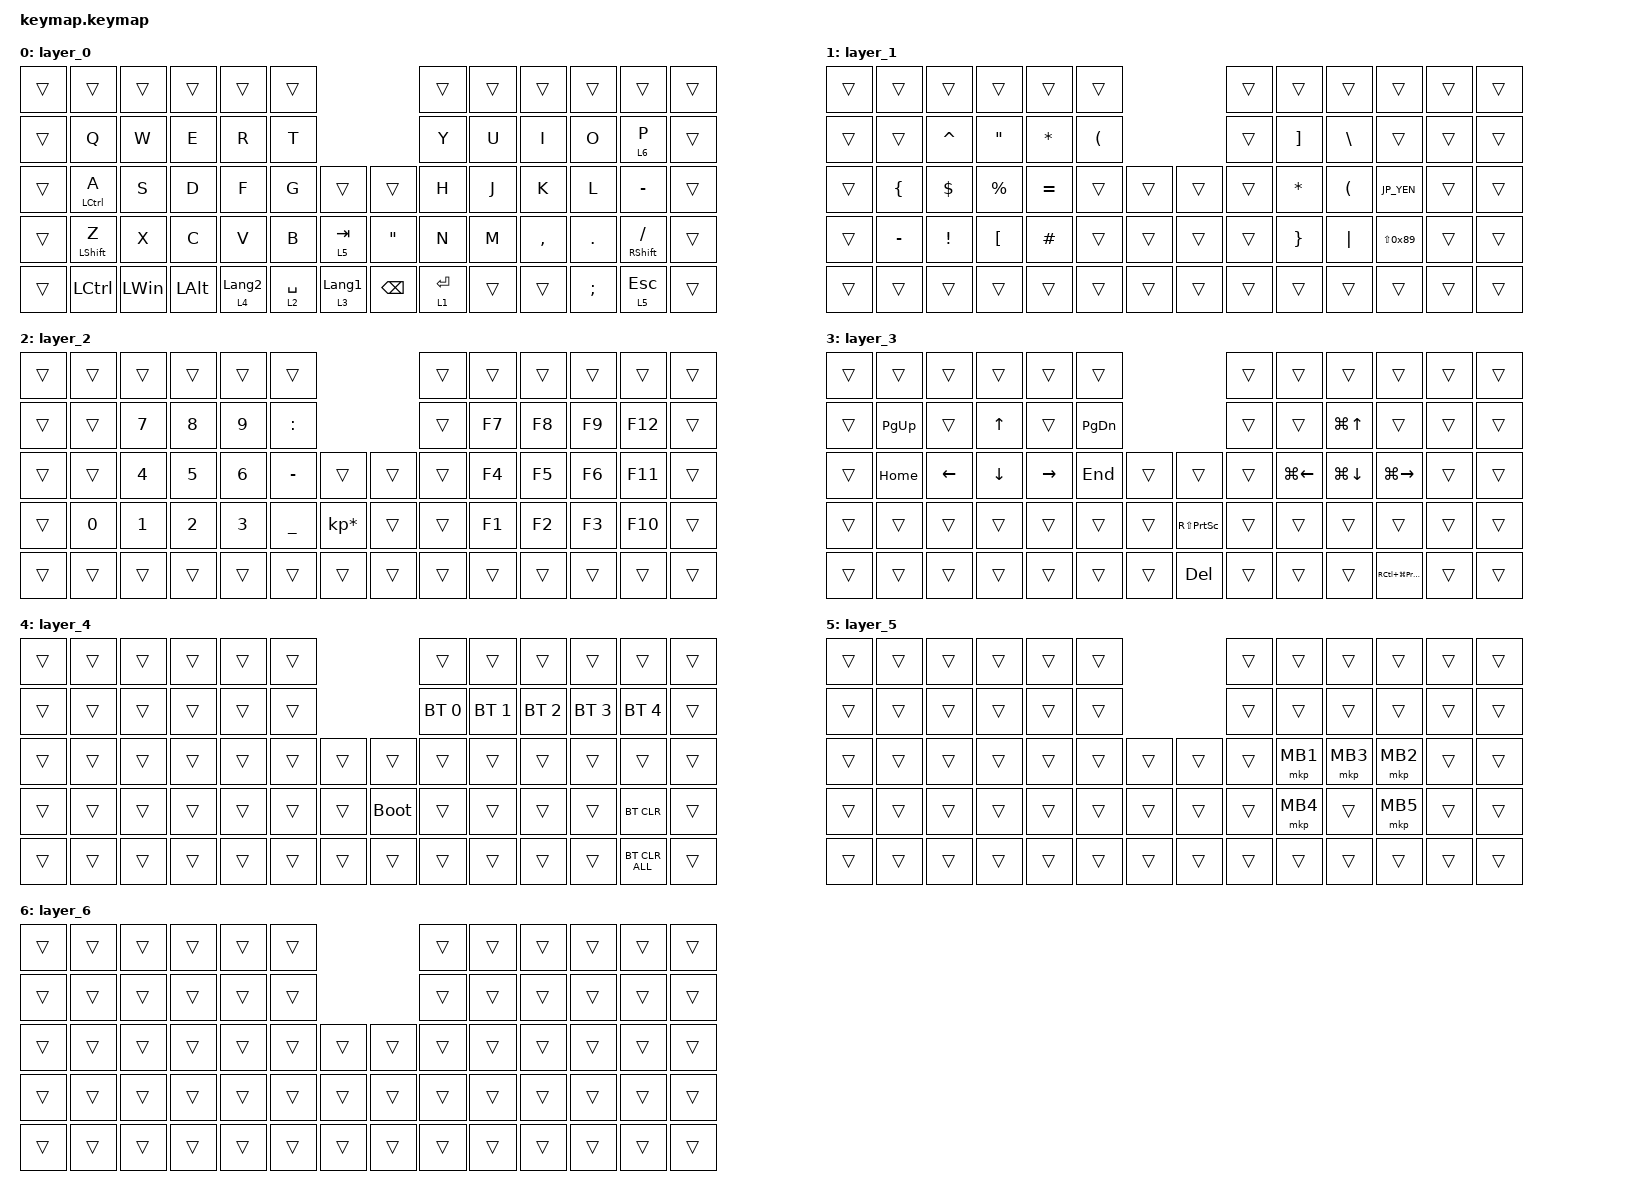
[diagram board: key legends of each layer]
#define JP_DQUOTE       AT                // "
#define JP_AMPERSAND    CARET             // &
#define JP_QUOTE        AMPERSAND         // '
#define JP_EQUAL        UNDER             // =
#define JP_CARET        EQUAL             // ^
#define JP_YEN          0x89              // ¥
#define JP_PLUS         COLON             // +(plus)
#define JP_TILDE        PLUS              // ~
#define JP_PIPE         LS(0x89)          // |
#define JP_AT           LEFT_BRACKET      // @
#define JP_COLON        SINGLE_QUOTE      // :
#define JP_ASTERISK     DOUBLE_QUOTES     // *
#define JP_BACKQUOTE    LEFT_BRACE        // `
#define JP_UNDERSCORE   LS(0x87)          // _
#define JP_LBRACKET     RIGHT_BRACKET     // [
#define JP_RBRACKET     BACKSLASH         // ]
#define JP_LPAREN       ASTERISK          // (
#define JP_RPAREN       LEFT_PARENTHESIS  // )
#define JP_LBRACE       RIGHT_BRACE       // {
#define JP_RBRACE       PIPE              // }
#define JP_KANA         LANGUAGE_1        // かな
#define JP_EISU         LANGUAGE_2        // 英数
#define JP_HANZEN       GRAVE             // 半角/全角
#define ZMK_POINTING_DEFAULT_MOVE_VAL 600  // default: 600
#define ZMK_POINTING_DEFAULT_SCRL_VAL 10    // default: 10

#include <behaviors.dtsi>
#include <dt-bindings/zmk/bt.h>
#include <dt-bindings/zmk/keys.h>
#include <dt-bindings/zmk/pointing.h>

/ {
    combos { compatible = "zmk,combos"; };

    keymap {
        compatible = "zmk,keymap";

        layer_0 {
            bindings = <
&trans  &trans              &trans        &trans    &trans            &trans                                            &trans       &trans  &trans     &trans         &trans                 &trans
&trans  &kp Q               &kp W         &kp E     &kp R             &kp T                                             &kp Y        &kp U   &kp I      &kp O          &lt 6 P                &trans
&trans  &mt LEFT_CONTROL A  &kp S         &kp D     &kp F             &kp G        &trans            &trans             &kp H        &kp J   &kp K      &kp L          &kp MINUS              &trans
&trans  &mt LEFT_SHIFT Z    &kp X         &kp C     &kp V             &kp B        &lt 5 TAB         &kp DOUBLE_QUOTES  &kp N        &kp M   &kp COMMA  &kp DOT        &mt RIGHT_SHIFT SLASH  &trans
&trans  &kp LEFT_CONTROL    &kp LEFT_WIN  &kp LALT  &lt 4 LANGUAGE_2  &lt 2 SPACE  &lt 3 LANGUAGE_1  &kp BACKSPACE      &lt 1 ENTER  &trans  &trans     &kp SEMICOLON  &lt 5 ESCAPE           &trans
            >;
        };

        layer_1 {
            bindings = <
&trans  &trans            &trans            &trans           &trans         &trans                         &trans  &trans           &trans           &trans       &trans  &trans
&trans  &trans            &kp JP_AMPERSAND  &kp JP_ASTERISK  &kp JP_LPAREN  &kp JP_RPAREN                  &trans  &kp JP_LBRACKET  &kp JP_RBRACKET  &trans       &trans  &trans
&trans  &kp JP_BACKQUOTE  &kp DOLLAR        &kp PERCENT      &kp JP_CARET   &trans         &trans  &trans  &trans  &kp JP_LPAREN    &kp JP_RPAREN    &kp JP_YEN   &trans  &trans
&trans  &kp MINUS         &kp EXCLAMATION   &kp JP_AT        &kp HASH       &trans         &trans  &trans  &trans  &kp JP_LBRACE    &kp JP_RBRACE    &kp JP_PIPE  &trans  &trans
&trans  &trans            &trans            &trans           &trans         &trans         &trans  &trans  &trans  &trans           &trans           &trans       &trans  &trans
            >;
        };

        layer_2 {
            bindings = <
&trans  &trans  &trans        &trans        &trans        &trans                              &trans  &trans  &trans  &trans  &trans   &trans
&trans  &trans  &kp NUMBER_7  &kp NUMBER_8  &kp NUMBER_9  &kp JP_PLUS                            &trans  &kp F7  &kp F8  &kp F9  &kp F12  &trans
&trans  &trans  &kp NUMBER_4  &kp NUMBER_5  &kp NUMBER_6  &kp MINUS  &trans           &trans  &trans  &kp F4  &kp F5  &kp F6  &kp F11  &trans
&trans  &kp N0  &kp NUMBER_1  &kp NUMBER_2  &kp NUMBER_3  &kp JP_EQUAL  &kp KP_MULTIPLY  &trans  &trans  &kp F1  &kp F2  &kp F3  &kp F10  &trans
&trans  &trans  &trans        &trans        &trans        &trans     &trans           &trans  &trans  &trans  &trans  &trans  &trans   &trans
            >;
        };

        layer_3 {
            bindings = <
&trans  &trans     &trans          &trans          &trans           &trans                            &trans  &trans              &trans              &trans               &trans  &trans
&trans  &kp PG_UP  &trans          &kp UP_ARROW    &trans           &kp PG_DN                         &trans  &trans              &kp LG(UP_ARROW)    &trans               &trans  &trans
&trans  &kp HOME   &kp LEFT_ARROW  &kp DOWN_ARROW  &kp RIGHT_ARROW  &kp END    &trans  &trans         &trans  &kp LG(LEFT_ARROW)  &kp LG(DOWN_ARROW)  &kp LG(RIGHT_ARROW)  &trans  &trans
&trans  &trans     &trans          &trans          &trans           &trans     &trans  &kp RS(PSCRN)  &trans  &trans              &trans              &trans               &trans  &trans
&trans  &trans     &trans          &trans          &trans           &trans     &trans  &kp DELETE     &trans  &trans              &trans              &kp RC(LG(PSCRN))    &trans  &trans
            >;
        };

        layer_4 {
            bindings = <
&trans  &trans  &trans  &trans  &trans  &trans                       &trans        &trans        &trans        &trans        &trans          &trans
&trans  &trans  &trans  &trans  &trans  &trans                       &bt BT_SEL 0  &bt BT_SEL 1  &bt BT_SEL 2  &bt BT_SEL 3  &bt BT_SEL 4    &trans
&trans  &trans  &trans  &trans  &trans  &trans  &trans  &trans       &trans        &trans        &trans        &trans        &trans          &trans
&trans  &trans  &trans  &trans  &trans  &trans  &trans  &bootloader  &trans        &trans        &trans        &trans        &bt BT_CLR      &trans
&trans  &trans  &trans  &trans  &trans  &trans  &trans  &trans       &trans        &trans        &trans        &trans        &bt BT_CLR_ALL  &trans
            >;
        };

        layer_5 {
            bindings = <
&trans  &trans  &trans  &trans  &trans  &trans                  &trans  &trans    &trans    &trans    &trans  &trans
&trans  &trans  &trans  &trans  &trans  &trans                  &trans  &trans    &trans    &trans    &trans  &trans
&trans  &trans  &trans  &trans  &trans  &trans  &trans  &trans  &trans  &mkp MB1  &mkp MB3  &mkp MB2  &trans  &trans
&trans  &trans  &trans  &trans  &trans  &trans  &trans  &trans  &trans  &mkp MB4  &trans    &mkp MB5  &trans  &trans
&trans  &trans  &trans  &trans  &trans  &trans  &trans  &trans  &trans  &trans    &trans    &trans    &trans  &trans
            >;
        };

        layer_6 {
            bindings = <
&trans  &trans  &trans  &trans  &trans  &trans                  &trans  &trans  &trans  &trans  &trans  &trans
&trans  &trans  &trans  &trans  &trans  &trans                  &trans  &trans  &trans  &trans  &trans  &trans
&trans  &trans  &trans  &trans  &trans  &trans  &trans  &trans  &trans  &trans  &trans  &trans  &trans  &trans
&trans  &trans  &trans  &trans  &trans  &trans  &trans  &trans  &trans  &trans  &trans  &trans  &trans  &trans
&trans  &trans  &trans  &trans  &trans  &trans  &trans  &trans  &trans  &trans  &trans  &trans  &trans  &trans
            >;
        };
    };
};
